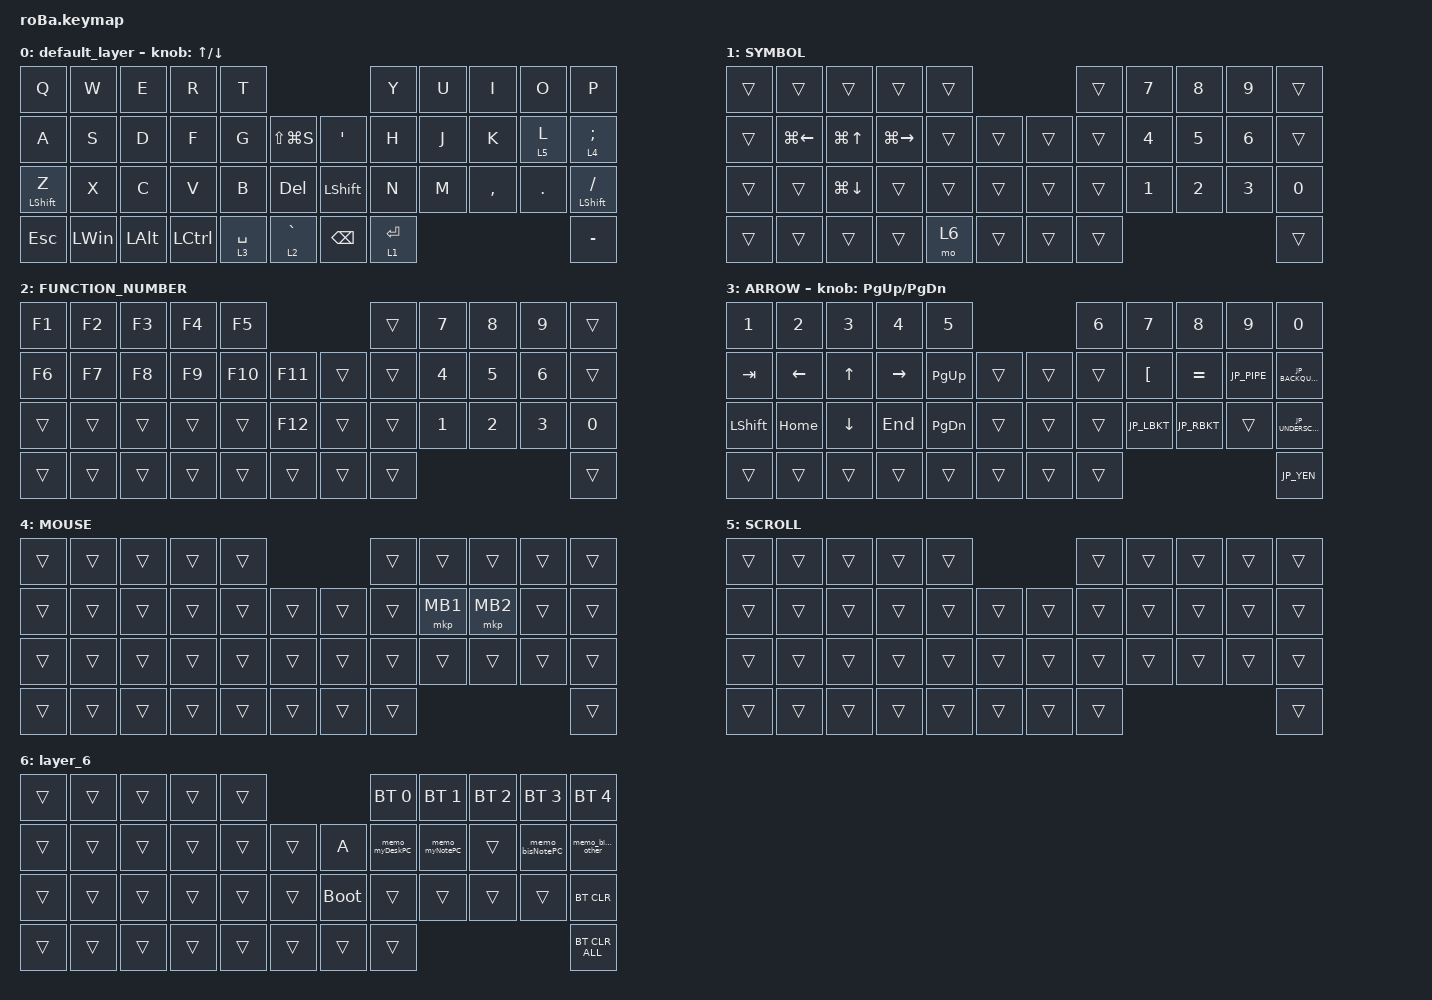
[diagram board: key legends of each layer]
#include <behaviors.dtsi>
#include <dt-bindings/zmk/bt.h>
#include <dt-bindings/zmk/keys.h>
#include <dt-bindings/zmk/pointing.h>

#define MOUSE 4
#define SCROLL 5
#define NUM 6

&mt {
    flavor = "balanced";
    quick-tap-ms = <0>;
};

&lt { tapping-term-ms = <150>; };

/ {
    combos {
        compatible = "zmk,combos";

        tab {
            bindings = <&kp TAB>;
            key-positions = <11 12>;
        };

        shift_tab {
            bindings = <&kp LS(TAB)>;
            key-positions = <12 13>;
        };

        double_quotation {
            bindings = <&kp DOUBLE_QUOTES>;
            key-positions = <20 21>;
        };

        eq {
            bindings = <&kp EQUAL>;
            key-positions = <24 25>;
        };
    };

    macros {
        to_layer_0: to_layer_0 {
            compatible = "zmk,behavior-macro-one-param";
            #binding-cells = <1>;
            bindings = <&to 0 &macro_param_1to1 &kp MACRO_PLACEHOLDER>;
            label = "TO_LAYER_0";
        };

        macro_zenhankaku: macro_zenhankaku {
            compatible = "zmk,behavior-macro";
            #binding-cells = <0>;
            bindings = <&kp LA(GRAVE)>;
            label = "MACRO_ZENHANKAKU";
        };

        JP_colon_ast: JP_DQUOTE {
            compatible = "zmk,behavior-macro";
            #binding-cells = <0>;
            bindings = <&kp SINGLE_QUOTE>;
            label = "JP_DQUOTE";
        };

        JP_YEN: JP_YEN {
            compatible = "zmk,behavior-macro";
            #binding-cells = <0>;
            bindings = <&kp 0x87>;
            label = "JP_YEN";
        };

        JP_UNDERSCORE: JP_UNDERSCORE {
            compatible = "zmk,behavior-macro";
            #binding-cells = <0>;
            bindings = <&kp LS(0x87)>;
            label = "JP_UNDERSCORE";
        };

        JP_PIPE: JP_PIPE {
            compatible = "zmk,behavior-macro";
            #binding-cells = <0>;
            bindings = <&kp LS(0x89)>;
            label = "JP_PIPE";
        };

        JP_LBKT: JP_LBKT {
            compatible = "zmk,behavior-macro";
            #binding-cells = <0>;
            bindings = <&kp RBKT>;
            label = "JP_LBKT";
        };

        JP_RBKT: JP_RBKT {
            compatible = "zmk,behavior-macro";
            #binding-cells = <0>;
            bindings = <&kp NUHS>;
            label = "JP_RBKT";
        };

        JP_BACKQUOTE: JP_BACKQUOTE {
            compatible = "zmk,behavior-macro";
            #binding-cells = <0>;
            bindings = <&kp LEFT_BRACE>;
            label = "JP_BACKQUOTE";
        };

        memo_myDeskPC: memo_1 {
            compatible = "zmk,behavior-macro";
            #binding-cells = <0>;
            bindings = <&none>;
            label = "MEMO_1";
        };

        memo_myNotePC: memo_busNPC {
            compatible = "zmk,behavior-macro";
            #binding-cells = <0>;
            bindings = <&none>;
            label = "MEMO_BUSNPC";
        };

        memo_bisNotePC: memo_bisNPC2 {
            compatible = "zmk,behavior-macro";
            #binding-cells = <0>;
            bindings = <&none>;
            label = "MEMO_BISNPC2";
        };

        memo_bisNotePC_other: memo_bix {
            compatible = "zmk,behavior-macro";
            #binding-cells = <0>;
            bindings = <&none>;
            label = "MEMO_BIX";
        };
    };

    behaviors {
        lt_to_layer_0: lt_to_layer_0 {
            compatible = "zmk,behavior-hold-tap";
            label = "LAYER_TAP_TO_0";
            bindings = <&mo>, <&to_layer_0>;

            #binding-cells = <2>;
            tapping-term-ms = <200>;
        };
    };

    keymap {
        compatible = "zmk,keymap";

        default_layer {
            bindings = <
&kp Q             &kp W         &kp E         &kp R      &kp T                                             &kp Y        &kp U  &kp I      &kp O    &kp P
&kp A             &kp S         &kp D         &kp F      &kp G        &kp LS(LG(S))      &kp SINGLE_QUOTE  &kp H        &kp J  &kp K      &lt 5 L  &lt 4 SEMI
&mt LEFT_SHIFT Z  &kp X         &kp C         &kp V      &kp B        &kp DELETE         &kp LEFT_SHIFT    &kp N        &kp M  &kp COMMA  &kp DOT  &mt LEFT_SHIFT SLASH
&kp ESCAPE        &kp LEFT_WIN  &kp LEFT_ALT  &kp LCTRL  &lt 3 SPACE  &lt 2 GRAVE        &kp BACKSPACE     &lt 1 ENTER                             &kp MINUS
            >;

            sensor-bindings = <&inc_dec_kp UP_ARROW DOWN_ARROW>;
        };

        SYMBOL {
            bindings = <
&trans  &trans        &trans        &trans         &trans                      &trans  &kp N7  &kp N8  &kp N9  &trans
&trans  &kp LG(LEFT)  &kp LG(UP)    &kp LG(RIGHT)  &trans  &trans      &trans  &trans  &kp N4  &kp N5  &kp N6  &trans
&trans  &trans        &kp LG(DOWN)  &trans         &trans  &trans      &trans  &trans  &kp N1  &kp N2  &kp N3  &kp N0
&trans  &trans        &trans        &trans         &mo 6   &trans      &trans  &trans                          &trans
            >;
        };

        FUNCTION_NUMBER {
            bindings = <
&kp F1  &kp F2  &kp F3  &kp F4  &kp F5                        &trans  &kp NUMBER_7  &kp NUMBER_8  &kp NUMBER_9  &trans
&kp F6  &kp F7  &kp F8  &kp F9  &kp F10  &kp F11      &trans  &trans  &kp NUMBER_4  &kp NUMBER_5  &kp NUMBER_6  &trans
&trans  &trans  &trans  &trans  &trans   &kp F12      &trans  &trans  &kp NUMBER_1  &kp NUMBER_2  &kp NUMBER_3  &kp NUMBER_0
&trans  &trans  &trans  &trans  &trans   &trans       &trans  &trans                                            &trans
            >;
        };

        ARROW {
            bindings = <
&kp NUMBER_1    &kp NUMBER_2    &kp NUMBER_3    &kp NUMBER_4     &kp NUMBER_5                       &kp NUMBER_6  &kp NUMBER_7      &kp NUMBER_8  &kp NUMBER_9  &kp NUMBER_0
&kp TAB         &kp LEFT_ARROW  &kp UP_ARROW    &kp RIGHT_ARROW  &kp PG_UP      &trans      &trans  &trans        &kp LEFT_BRACKET  &kp EQUAL     &JP_PIPE      &JP_BACKQUOTE
&kp LEFT_SHIFT  &kp HOME        &kp DOWN_ARROW  &kp END          &kp PAGE_DOWN  &trans      &trans  &trans        &JP_LBKT          &JP_RBKT      &trans        &JP_UNDERSCORE
&trans          &trans          &trans          &trans           &trans         &trans      &trans  &trans                                                      &JP_YEN
            >;

            sensor-bindings = <&inc_dec_kp PAGE_UP PAGE_DOWN>;
        };

        MOUSE {
            bindings = <
&trans  &trans  &trans  &trans  &trans                      &trans  &trans    &trans    &trans  &trans
&trans  &trans  &trans  &trans  &trans  &trans      &trans  &trans  &mkp MB1  &mkp MB2  &trans  &trans
&trans  &trans  &trans  &trans  &trans  &trans      &trans  &trans  &trans    &trans    &trans  &trans
&trans  &trans  &trans  &trans  &trans  &trans      &trans  &trans                              &trans
            >;
        };

        SCROLL {
            bindings = <
&trans  &trans  &trans  &trans  &trans                      &trans  &trans  &trans  &trans  &trans
&trans  &trans  &trans  &trans  &trans  &trans      &trans  &trans  &trans  &trans  &trans  &trans
&trans  &trans  &trans  &trans  &trans  &trans      &trans  &trans  &trans  &trans  &trans  &trans
&trans  &trans  &trans  &trans  &trans  &trans      &trans  &trans                          &trans
            >;
        };

        layer_6 {
            bindings = <
&trans  &trans  &trans  &trans  &trans                           &bt BT_SEL 0    &bt BT_SEL 1    &bt BT_SEL 2  &bt BT_SEL 3     &bt BT_SEL 4
&trans  &trans  &trans  &trans  &trans  &trans      &kp A        &memo_myDeskPC  &memo_myNotePC  &trans        &memo_bisNotePC  &memo_bisNotePC_other
&trans  &trans  &trans  &trans  &trans  &trans      &bootloader  &trans          &trans          &trans        &trans           &bt BT_CLR
&trans  &trans  &trans  &trans  &trans  &trans      &trans       &trans                                                         &bt BT_CLR_ALL
            >;
        };
    };
};
